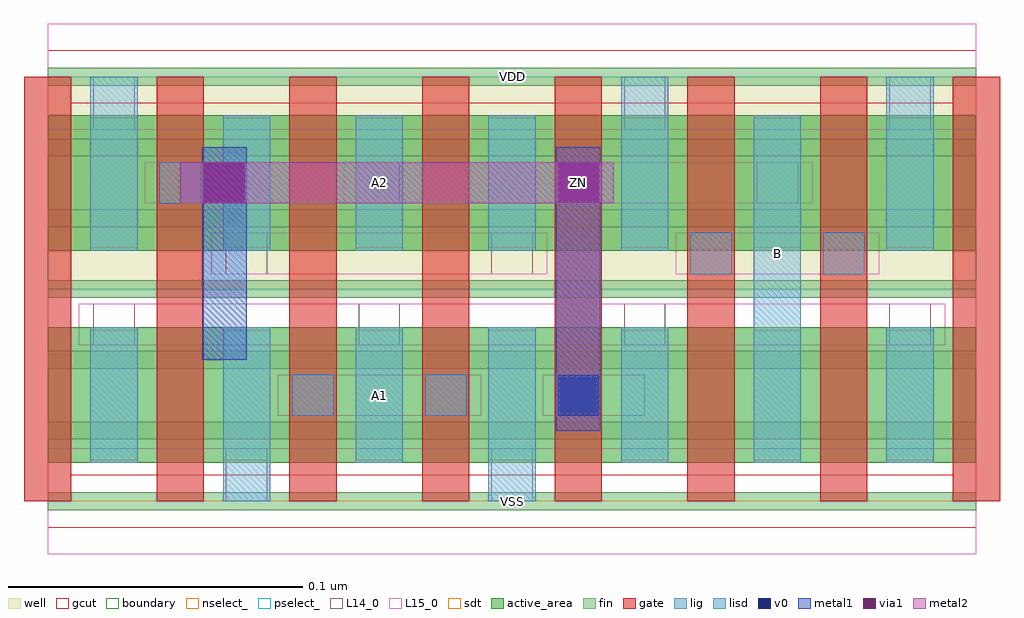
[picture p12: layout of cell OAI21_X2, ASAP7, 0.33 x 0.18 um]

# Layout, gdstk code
import gdstk
lib = gdstk.Library(unit=1e-6, precision=2.5e-10)
def R(c, l, rs):  # rectangles x0, y0, x1, y1
    for r in rs: c.add(gdstk.rectangle(r[:2], r[2:], *l))
def A(c, l, x, y, w, h, nx, ny, dx, dy):  # array of equal rectangles
    R(c, l, [(x+i*dx, y+j*dy, x+i*dx+w, y+j*dy+h) for i in range(nx) for j in range(ny)])
def P(c, l, *ps):  # polygons
    for p in ps: c.add(gdstk.Polygon(p, *l))
well = (1, 0)
fin = (2, 0)
gate = (7, 0)
gcut = (10, 0)
active_area = (11, 0)
nselect_ = (12, 0)
pselect_ = (13, 0)
L14_0 = (14, 0)
L15_0 = (15, 0)
lig = (16, 0)
lisd = (17, 0)
v0 = (18, 0)
metal1 = (19, 0)
metal2 = (20, 0)
via1 = (21, 0)
sdt = (88, 0)
boundary = (100, 0)

oai21_x2 = lib.new_cell('OAI21_X2')
R(oai21_x2, well, [(0,0.072,0.315,0.144)])
A(oai21_x2, fin, 0, -0.003, 0.315, 0.006, 1, 7, 0, 0.024)
A(oai21_x2, gate, -0.008, 0, 0.016, 0.144, 8, 1, 0.045, 0)
P(oai21_x2, gcut, [(0,-0.009),(0,0),(-0.008,0),(-0.008,0.135),(0.008,0.135),(0.008,0.009),(0.307,0.009),(0.307,0.135),(-0.008,0.135),(-0.008,0.144),(0,0.144),(0,0.153),(0.315,0.153),(0.315,0.144),(0.323,0.144),(0.323,0),(0.315,0),(0.315,-0.009)])
R(oai21_x2, active_area, [(0,0.013,0.315,0.059), (0,0.085,0.315,0.131)])
R(oai21_x2, nselect_, [(0,0,0.315,0.072)])
R(oai21_x2, pselect_, [(0,0.072,0.315,0.144)])
A(oai21_x2, L14_0, 0.083, 0.029, 0.014, 0.014, 3, 1, 0.045, 0)
A(oai21_x2, L14_0, 0.0155, 0.053, 0.014, 0.014, 4, 1, 0.09, 0)
R(oai21_x2, L14_0, [(0.0605,0,0.0745,0.018), (0.1505,0,0.1645,0.018), (0.0605,0.077,0.0745,0.091), (0.1505,0.077,0.1645,0.091), (0.218,0.077,0.232,0.091), (0.263,0.077,0.277,0.091), (0.038,0.101,0.052,0.115), (0.1055,0.101,0.1195,0.115), (0.2405,0.101,0.2545,0.115), (0.0155,0.126,0.0295,0.144), (0.1955,0.126,0.2095,0.144), (0.2855,0.126,0.2995,0.144)])
R(oai21_x2, L15_0, [(0,-0.018,0.315,0.018), (0.078,0.029,0.147,0.043), (0.168,0.029,0.2025,0.043), (0.0105,0.053,0.3045,0.067), (0.0555,0.077,0.1695,0.091), (0.213,0.077,0.282,0.091), (0.033,0.101,0.072,0.115), (0.1005,0.101,0.2595,0.115), (0,0.126,0.315,0.162)])
A(oai21_x2, lig, 0.083, 0.029, 0.014, 0.014, 3, 1, 0.045, 0)
R(oai21_x2, lig, [(0.218,0.077,0.232,0.091), (0.263,0.077,0.277,0.091), (0.038,0.101,0.052,0.115)])
A(oai21_x2, lisd, 0.0145, 0.013, 0.016, 0.046, 4, 1, 0.09, 0)
A(oai21_x2, lisd, 0.0595, 0.085, 0.016, 0.046, 3, 1, 0.045, 0)
R(oai21_x2, lisd, [(0.0595,0,0.0755,0.059), (0.1495,0,0.1655,0.059), (0.2395,0.013,0.2555,0.131), (0.0145,0.085,0.0305,0.144), (0.1945,0.085,0.2105,0.144), (0.2845,0.085,0.3005,0.144)])
R(oai21_x2, v0, [(0.173,0.029,0.187,0.043), (0.053,0.101,0.067,0.115)])
R(oai21_x2, metal1, [(0.1725,0.024,0.1875,0.12), (0.0525,0.048,0.0675,0.12)])
R(oai21_x2, metal2, [(0.045,0.101,0.192,0.115)])
R(oai21_x2, via1, [(0.053,0.101,0.067,0.115), (0.173,0.101,0.187,0.115)])
A(oai21_x2, sdt, 0.0145, 0.014, 0.016, 0.044, 7, 2, 0.045, 0.072)
R(oai21_x2, boundary, [(0,0,0.315,0.144)])
oai21_x2.add(gdstk.Label('ZN', (0.18,0.108), layer=15, texttype=251))
oai21_x2.add(gdstk.Label('VSS', (0.1575,0), layer=15, texttype=251))
oai21_x2.add(gdstk.Label('VDD', (0.1575,0.144), layer=15, texttype=251))
oai21_x2.add(gdstk.Label('B', (0.2475,0.084), layer=15, texttype=251))
oai21_x2.add(gdstk.Label('VSS', (0.1575,0), layer=15, texttype=251))
oai21_x2.add(gdstk.Label('VDD', (0.1575,0.144), layer=15, texttype=251))
oai21_x2.add(gdstk.Label('A1', (0.1125,0.036), layer=15, texttype=251))
oai21_x2.add(gdstk.Label('VSS', (0.1575,0), layer=15, texttype=251))
oai21_x2.add(gdstk.Label('VDD', (0.1575,0.144), layer=15, texttype=251))
oai21_x2.add(gdstk.Label('VSS', (0.1575,0), layer=15, texttype=251))
oai21_x2.add(gdstk.Label('VDD', (0.1575,0.144), layer=15, texttype=251))
oai21_x2.add(gdstk.Label('VSS', (0.1575,0), layer=3, texttype=251))
oai21_x2.add(gdstk.Label('VSS', (0.1575,0), layer=3, texttype=251))
oai21_x2.add(gdstk.Label('VSS', (0.1575,0), layer=3, texttype=251))
oai21_x2.add(gdstk.Label('VSS', (0.1575,0), layer=3, texttype=251))
oai21_x2.add(gdstk.Label('VDD', (0.1575,0.144), layer=1, texttype=251))
oai21_x2.add(gdstk.Label('VDD', (0.1575,0.144), layer=1, texttype=251))
oai21_x2.add(gdstk.Label('VDD', (0.1575,0.144), layer=1, texttype=251))
oai21_x2.add(gdstk.Label('VDD', (0.1575,0.144), layer=1, texttype=251))
oai21_x2.add(gdstk.Label('A2', (0.1125,0.108), layer=20, texttype=251))

lib.write_gds('OAI21_X2.gds')
